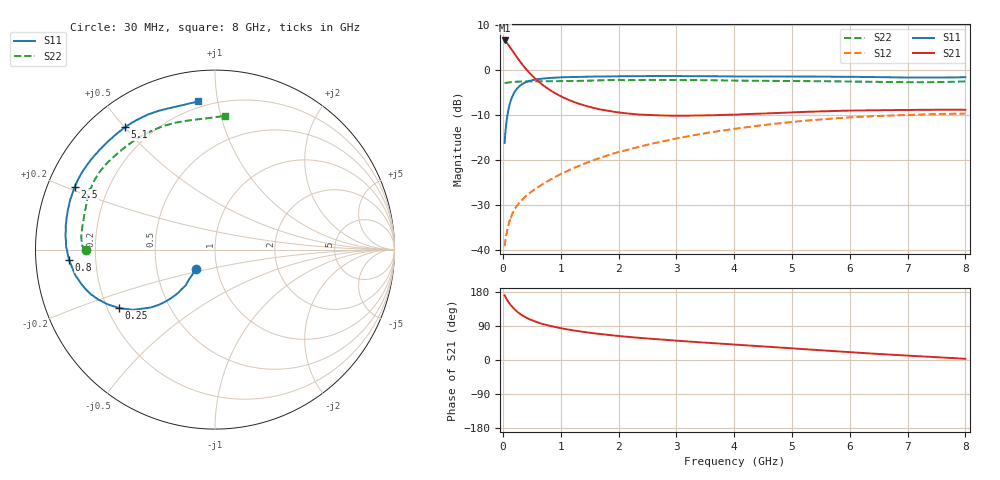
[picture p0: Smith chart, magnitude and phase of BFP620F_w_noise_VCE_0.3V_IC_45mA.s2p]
! Infineon Technologies  Discrete & RF Semiconductors
! BFP620F
! VCE =  0.3 V,  IC =  45 mA
! Common Emitter S-Parameters:  Dec 2014
# GHz  S  MA  R  50
!  f  S11  S21  S12  S22
! GHz  MAG  ANG  MAG  ANG  MAG  ANG  MAG  ANG
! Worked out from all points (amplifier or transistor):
!   95 points, 30 MHz to 8 GHz, reference 50 ohm
!   highest |S21| = 6.6 dB at 30 MHz (marker M1)
!   |S21| within 3 dB of that: start of sweep to 204.2 MHz
!   unconditionally stable (mu >= 1): start of sweep to end of sweep
!   at 300 MHz: K = 3.30, MAG = 7.5 dB, |S12| = -29.3 dB
!   at 3.3 GHz: K = 1.59, MAG = -2.3 dB, |S12| = -14.5 dB
!   at 8 GHz: K = 1.25, MAG = -2.6 dB, |S12| = -9.7 dB
!   lowest NFmin = 1.45 dB at 450 MHz
!   S11 on the Smith chart (normalised r, x): 30 MHz: 0.79, -0.18; 250 MHz: 0.25, -0.26; 800 MHz: 0.10, -0.03; 2.5 GHz: 0.08, +0.21; 5.1 GHz: 0.10, +0.50; 8 GHz: 0.16, +0.88
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0.03  0.1546 -134.6  2.132 170.6  0.011 29.3  0.7188 -180.0
0.05  0.2232 -131.0  2.06 165.0  0.0137 35.5  0.7198 -179.9
0.08  0.3176 -130.4  1.962 157.1  0.0174 38.4  0.7249 179.9
0.12  0.4221 -134.7  1.806 148.2  0.0209 44.1  0.7302 179.5
0.13  0.4443 -135.8  1.769 146.2  0.0232 45.1  0.7322 179.3
0.2  0.5672 -143.7  1.523 134.1  0.0283 45.2  0.739 178.4
0.25  0.6282 -148.8  1.369 127.3  0.0314 45.4  0.7428 177.5
0.3  0.6733 -153.2  1.236 121.4  0.0343 46.2  0.7443 176.6
0.35  0.7074 -156.9  1.123 116.5  0.0371 47.5  0.7458 175.7
0.45  0.7531 -162.9  0.945 108.4  0.0422 48.9  0.7483 174.1
0.6  0.7913 -169.6  0.76 99.4  0.0496 51.6  0.7495 171.7
0.8  0.816 -176.1  0.607 90.7  0.0594 54.0  0.7509 168.8
1.1  0.8319 176.6  0.477 81.2  0.0746 56.0  0.7535 164.5
1.4  0.8421 171.0  0.406 74.0  0.0905 56.5  0.7595 160.8
1.9  0.8499 163.5  0.345 64.9  0.1174 55.5  0.7743 155.4
2.5  0.8566 155.8  0.317 56.8  0.1475 52.1  0.7748 150.2
2.7  0.8567 153.4  0.313 54.5  0.1576 50.9  0.7747 148.6
4.1  0.8484 137.1  0.321 39.8  0.2262 39.7  0.7625 135.2
5.1  0.8457 126.3  0.34 29.8  0.2682 30.5  0.754 123.3
5.4  0.8451 123.3  0.345 26.7  0.2789 27.5  0.7515 119.6
6.7  0.8302 109.5  0.358 14.2  0.3117 15.0  0.7357 103.3
8  0.8318 96.4  0.361 3.2  0.3278 4.1  0.7476 85.6
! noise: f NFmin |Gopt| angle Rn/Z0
0.45  1.45  0.18  -172  0.16
0.9  1.48  0.18  -172  0.14
1.5  1.49  0.23  -153  0.1
1.8  1.5  0.23  -152  0.1
1.9  1.5  0.23  -151  0.11
2.4  1.52  0.24  213  0.12
3.5  1.58  0.24  220  0.15
5.5  1.72  0.29  248  0.19
6  1.76  0.29  261  0.24
